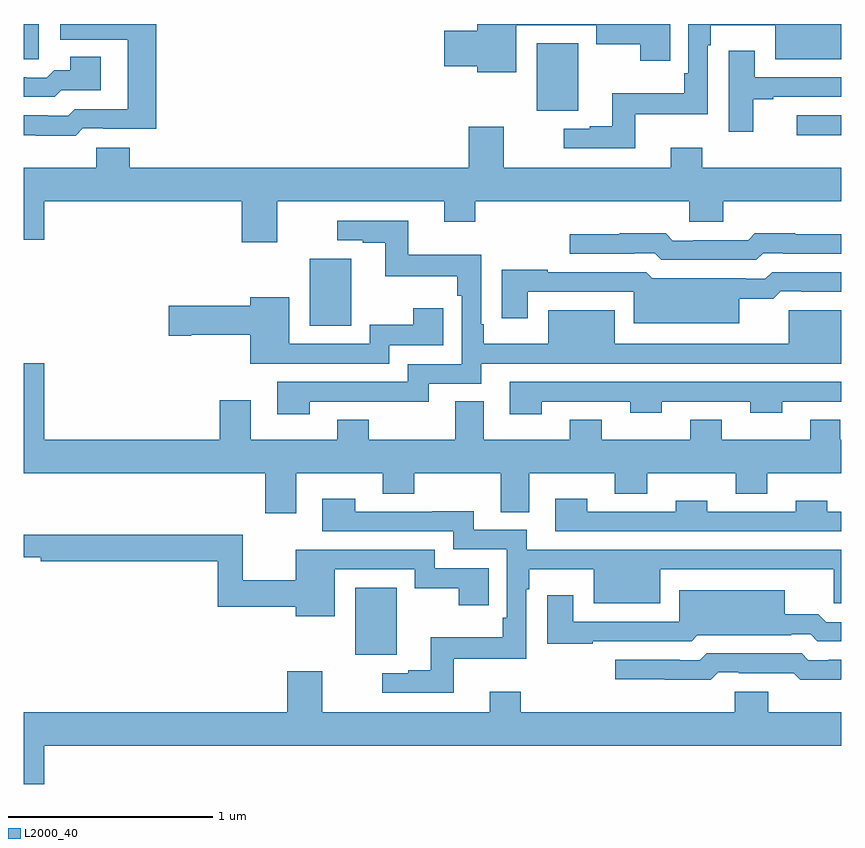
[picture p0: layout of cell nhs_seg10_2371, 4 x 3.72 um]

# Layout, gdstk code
import gdstk
lib = gdstk.Library(unit=1e-6, precision=1e-09)
def R(c, l, rs):  # rectangles x0, y0, x1, y1
    for r in rs: c.add(gdstk.rectangle(r[:2], r[2:], *l))
def P(c, l, *ps):  # polygons
    for p in ps: c.add(gdstk.Polygon(p, *l))
L2000_40 = (2000, 40)

nhs_seg10_2371 = lib.new_cell('nhs_seg10_2371')
R(nhs_seg10_2371, L2000_40, [(238.622,1315.412,238.825,1315.741), (238.4,1317.023,238.603,1317.352), (240.783,1317.956,241,1318.053), (239.51,1318.076,239.713,1318.405), (237,1318.328,237.073,1318.5)])
P(nhs_seg10_2371, L2000_40, [(239.992,1318.058),(240.348,1318.058),(240.348,1318.397),(240.361,1318.397),(240.361,1318.494),(240.677,1318.494),(240.677,1318.328),(241,1318.328),(241,1318.5),(240.252,1318.5),(240.252,1318.258),(240.232,1318.258),(240.232,1318.162),(239.879,1318.162),(239.879,1318),(239.769,1318),(239.769,1317.987),(239.643,1317.987),(239.643,1317.891),(239.992,1317.891)],
  [(237.289,1317.99),(237.388,1317.99),(237.388,1317.987),(237.647,1317.987),(237.647,1318.5),(237.177,1318.5),(237.177,1318.424),(237.509,1318.424),(237.509,1318.083),(237.249,1318.083),(237.216,1318.05),(237.116,1318.05),(237.116,1318.053),(237,1318.053),(237,1317.956),(237.058,1317.956),(237.058,1317.954),(237.253,1317.954)],
  [(239.41,1318.494),(239.802,1318.494),(239.802,1318.402),(240.016,1318.402),(240.016,1318.32),(240.163,1318.32),(240.163,1318.5),(239.219,1318.5),(239.219,1318.467),(239.058,1318.467),(239.058,1318.294),(239.219,1318.294),(239.219,1318.265),(239.41,1318.265)],
  [(240.571,1318.131),(240.667,1318.131),(240.667,1318.143),(241,1318.143),(241,1318.239),(240.577,1318.239),(240.577,1318.369),(240.449,1318.369),(240.449,1317.972),(240.571,1317.972)],
  [(237.183,1318.176),(237.376,1318.176),(237.376,1318.339),(237.227,1318.339),(237.227,1318.273),(237.148,1318.273),(237.111,1318.236),(237.011,1318.236),(237.011,1318.239),(237,1318.239),(237,1318.143),(237.15,1318.143)],
  [(238.239,1317.632),(239.057,1317.632),(239.057,1317.533),(239.21,1317.533),(239.21,1317.632),(240.257,1317.632),(240.257,1317.533),(240.422,1317.533),(240.422,1317.632),(241,1317.632),(241,1317.796),(240.32,1317.796),(240.32,1317.895),(240.167,1317.895),(240.167,1317.796),(239.349,1317.796),(239.349,1317.997),(239.177,1317.997),(239.177,1317.796),(237.518,1317.796),(237.518,1317.895),(237.353,1317.895),(237.353,1317.796),(237,1317.796),(237,1317.444),(237.1,1317.444),(237.1,1317.632),(238.067,1317.632),(238.067,1317.432),(238.239,1317.432)],
  [(238.4,1316.652),(238.777,1316.652),(238.777,1316.651),(238.981,1316.651),(238.981,1316.739),(239.239,1316.739),(239.239,1316.838),(240.847,1316.838),(240.847,1316.837),(241,1316.837),(241,1317.1),(240.743,1317.1),(240.743,1316.934),(239.893,1316.934),(239.893,1317.1),(239.567,1317.1),(239.567,1316.934),(239.251,1316.934),(239.251,1317.031),(239.238,1317.031),(239.238,1317.37),(238.882,1317.37),(238.882,1317.537),(238.533,1317.537),(238.533,1317.441),(238.659,1317.441),(238.659,1317.429),(238.769,1317.429),(238.769,1317.266),(239.122,1317.266),(239.122,1317.17),(239.142,1317.17),(239.142,1316.835),(238.88,1316.835),(238.88,1316.748),(238.239,1316.748),(238.239,1316.589),(238.4,1316.589)],
  [(240.618,1317.378),(240.718,1317.378),(240.718,1317.375),(241,1317.375),(241,1317.472),(240.776,1317.472),(240.776,1317.475),(240.578,1317.475),(240.545,1317.442),(240.277,1317.442),(240.277,1317.438),(240.177,1317.438),(240.141,1317.475),(239.916,1317.475),(239.916,1317.472),(239.673,1317.472),(239.673,1317.375),(239.987,1317.375),(239.987,1317.378),(240.087,1317.378),(240.12,1317.345),(240.585,1317.345)],
  [(240.502,1317.154),(240.667,1317.154),(240.705,1317.192),(240.805,1317.192),(240.805,1317.189),(241,1317.189),(241,1317.285),(240.662,1317.285),(240.629,1317.252),(240.533,1317.252),(240.533,1317.256),(240.075,1317.256),(240.046,1317.285),(239.563,1317.285),(239.563,1317.298),(239.339,1317.298),(239.339,1317.06),(239.467,1317.06),(239.467,1317.189),(239.985,1317.189),(239.985,1317.035),(240.502,1317.035)],
  [(238.788,1316.928),(239.053,1316.928),(239.053,1317.109),(238.906,1317.109),(238.906,1317.027),(238.692,1317.027),(238.692,1316.934),(238.3,1316.934),(238.3,1317.163),(238.109,1317.163),(238.109,1317.122),(237.708,1317.122),(237.708,1316.975),(237.82,1316.975),(237.82,1316.98),(238.109,1316.98),(238.109,1316.838),(238.788,1316.838)],
  [(238.333,1316.3),(238.756,1316.3),(238.756,1316.201),(238.911,1316.201),(238.911,1316.3),(239.333,1316.3),(239.333,1316.11),(239.473,1316.11),(239.473,1316.3),(239.893,1316.3),(239.893,1316.201),(240.051,1316.201),(240.051,1316.3),(240.484,1316.3),(240.484,1316.201),(240.639,1316.201),(240.639,1316.3),(241,1316.3),(241,1316.464),(240.997,1316.464),(240.997,1316.563),(240.85,1316.563),(240.85,1316.464),(240.417,1316.464),(240.417,1316.563),(240.262,1316.563),(240.262,1316.464),(239.829,1316.464),(239.829,1316.563),(239.671,1316.563),(239.671,1316.464),(239.251,1316.464),(239.251,1316.654),(239.111,1316.654),(239.111,1316.464),(238.689,1316.464),(238.689,1316.563),(238.534,1316.563),(238.534,1316.464),(238.111,1316.464),(238.111,1316.659),(237.959,1316.659),(237.959,1316.464),(237.1,1316.464),(237.1,1316.839),(237,1316.839),(237,1316.3),(238.181,1316.3),(238.181,1316.106),(238.333,1316.106)],
  [(239.535,1316.652),(239.968,1316.652),(239.968,1316.597),(240.123,1316.597),(240.123,1316.652),(240.556,1316.652),(240.556,1316.597),(240.711,1316.597),(240.711,1316.652),(241,1316.652),(241,1316.748),(239.379,1316.748),(239.379,1316.589),(239.535,1316.589)],
  [(239.104,1315.394),(239.46,1315.394),(239.46,1315.733),(239.473,1315.733),(239.473,1315.83),(239.789,1315.83),(239.789,1315.664),(240.115,1315.664),(240.115,1315.83),(240.965,1315.83),(240.965,1315.664),(241,1315.664),(241,1315.926),(239.461,1315.926),(239.461,1316.025),(239.203,1316.025),(239.203,1316.114),(238.999,1316.114),(238.999,1316.112),(238.622,1316.112),(238.622,1316.176),(238.461,1316.176),(238.461,1316.016),(239.102,1316.016),(239.102,1315.929),(239.364,1315.929),(239.364,1315.594),(239.344,1315.594),(239.344,1315.498),(238.991,1315.498),(238.991,1315.336),(238.881,1315.336),(238.881,1315.323),(238.755,1315.323),(238.755,1315.227),(239.104,1315.227)],
  [(241,1316.112),(240.933,1316.112),(240.933,1316.167),(240.778,1316.167),(240.778,1316.112),(240.345,1316.112),(240.345,1316.167),(240.19,1316.167),(240.19,1316.112),(239.757,1316.112),(239.757,1316.176),(239.601,1316.176),(239.601,1316.016),(241,1316.016)],
  [(238.522,1315.83),(238.914,1315.83),(238.914,1315.738),(239.128,1315.738),(239.128,1315.656),(239.275,1315.656),(239.275,1315.836),(239.01,1315.836),(239.01,1315.926),(238.331,1315.926),(238.331,1315.777),(238.07,1315.777),(238.07,1315.999),(237,1315.999),(237,1315.889),(237.082,1315.889),(237.082,1315.87),(237.949,1315.87),(237.949,1315.648),(238.331,1315.648),(238.331,1315.601),(238.522,1315.601)],
  [(239.785,1315.479),(240.268,1315.479),(240.297,1315.508),(240.755,1315.508),(240.755,1315.512),(240.851,1315.512),(240.884,1315.479),(241,1315.479),(241,1315.572),(240.927,1315.572),(240.889,1315.61),(240.724,1315.61),(240.724,1315.729),(240.207,1315.729),(240.207,1315.575),(239.689,1315.575),(239.689,1315.705),(239.561,1315.705),(239.561,1315.467),(239.785,1315.467)],
  [(240.399,1315.326),(240.499,1315.326),(240.499,1315.322),(240.767,1315.322),(240.8,1315.29),(240.998,1315.29),(240.998,1315.292),(241,1315.292),(241,1315.389),(240.94,1315.389),(240.94,1315.386),(240.84,1315.386),(240.807,1315.419),(240.342,1315.419),(240.309,1315.386),(240.209,1315.386),(240.209,1315.389),(239.895,1315.389),(239.895,1315.292),(240.138,1315.292),(240.138,1315.29),(240.363,1315.29)],
  [(237.1,1314.968),(241,1314.968),(241,1315.132),(240.644,1315.132),(240.644,1315.231),(240.479,1315.231),(240.479,1315.132),(239.432,1315.132),(239.432,1315.231),(239.279,1315.231),(239.279,1315.132),(238.461,1315.132),(238.461,1315.333),(238.289,1315.333),(238.289,1315.132),(237,1315.132),(237,1314.78),(237.1,1314.78)])

lib.write_gds('nhs_seg10_2371.gds')
